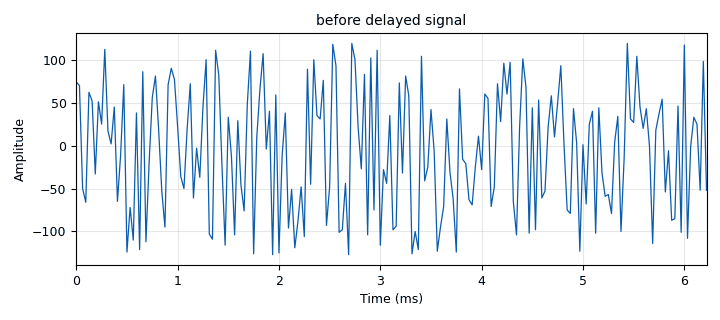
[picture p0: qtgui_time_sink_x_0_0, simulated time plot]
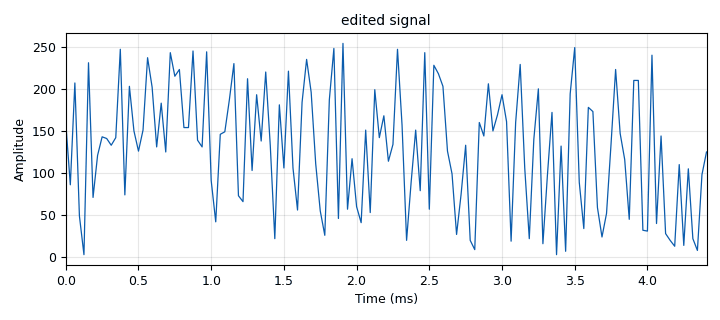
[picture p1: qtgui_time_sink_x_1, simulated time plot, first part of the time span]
options:
  parameters:
    author: Hvozda Martin
    generate_options: qt_gui
    id: FirstFlowGraph
    output_language: python
    title: Starting point of semestral
  states: {}

blocks:
- name: delay
  id: variable_qtgui_range
  parameters:
    label: manual delay
    min_len: '1000'
    rangeType: int
    start: '0'
    step: '1'
    stop: '500'
    value: '0'
  states: {}
- name: samp_rate
  id: variable
  parameters:
    value: '32000'
  states: {}
- name: analog_random_source_x_0
  id: analog_random_source_x
  parameters:
    max: '256'
    min: '0'
    num_samps: '2000'
    repeat: 'True'
    type: byte
  states: {}
- name: blocks_char_to_float_0
  id: blocks_char_to_float
  parameters:
    scale: '1'
  states: {}
- name: blocks_char_to_float_1
  id: blocks_char_to_float
  parameters:
    scale: '1'
  states: {}
- name: blocks_delay_0
  id: blocks_delay
  parameters:
    delay: delay
    type: byte
  states: {}
- name: blocks_delay_1
  id: blocks_delay
  parameters:
    delay: '0'
    type: byte
  states: {}
- name: blocks_throttle_0
  id: blocks_throttle
  parameters:
    samples_per_second: samp_rate
    type: float
  states: {}
- name: epy_block_0
  id: epy_block
  parameters:
    _source_code: "\"\"\"\nEmbedded Python Blocks:\n\nEach time this file is saved, GRC will instantiate the first class it finds\nto get ports and parameters of your block. The arguments to __init__  will\nbe the parameters. All of them are required to have default values!\n\"\"\"\n\nimport numpy as np\nimport pmt\nfrom gnuradio import gr\n\n\nclass blk(gr.sync_block):  # other base classes are basic_block, decim_block, interp_block\n    \"\"\"Embedded Python Block example - a simple multiply const\"\"\"\n\n    def __init__(self):  # only default arguments here\n        \"\"\"arguments to this function show up as parameters in GRC\"\"\"\n        gr.sync_block.__init__(\n            self,\n            name='Custom Difference Block',   # so we may modify it if needed\n            in_sig=[np.float32, np.float32],\n            out_sig=[np.float32] \n        )\n        self.message_port_register_out(pmt.intern(\"delay_msg\"))\n\n    def work(self, input_items, output_items):\n        \"\"\"example: multiply with constant\"\"\"\n       \tmain_stream = input_items[0]\n        delay_stream = input_items[1]\n        \n        #when you multiply the arrays, one \"rotates\"\n        correlation = np.correlate(main_stream, delay_stream, mode='full')\n        u_index = np.argmax(correlation)\n        \n        delay = u_index - (len(delay_stream) - 1)\n        # bug fix ----- random source samples na 2k, nakolko sa rozdeluju na dva prudy moze\n        # blbnut\n        msg = pmt.cons(pmt.PMT_NIL, pmt.from_long(delay))\n        self.message_port_pub(pmt.intern(\"delay_msg\"), msg)\n        \n        print(\"delay value:\", delay)\n\t\n        output_items[0][:] = np.full_like(output_items[0], delay)\n        return len(output_items[0])\n        \n"
  states: {}
- name: epy_block_1
  id: epy_block
  parameters:
    _source_code: "import numpy as np\nimport pmt\nfrom gnuradio import gr\n\nclass blk(gr.sync_block):\n    \"\"\"Embedded Python Block example - a simple multiply const\"\"\"\n\n    def __init__(self):\n        gr.sync_block.__init__(\n            self,\n            name='Receiver',\n            in_sig=[np.float32],\n            out_sig=[np.float32]\n        )\n        \n        self.delay = 0\n        self.enabled = False\n        \n        self.message_port_register_in(pmt.intern(\"delay_msg\"))\n        self.set_msg_handler(pmt.intern(\"delay_msg\"), self.handle_msg)\n        \n        self.message_port_register_in(pmt.intern(\"toggle\"))\n        self.set_msg_handler(pmt.intern(\"toggle\"), self.handle_toggle)\n\n    def handle_toggle(self, msg):\n    \n        if pmt.is_pair(msg):\n        \tmsg = pmt.cdr(msg)\n        \t\n        self.enabled = not self.enabled\n        state = \"ON\" if self.enabled else \"OFF\"\n        print(f\"[Receiver] Correction toggled {state}\")\n        \n\n    def set_enabled(self, value):\n        self.enabled = bool(value)\n        print(f\"Correction state: {'ON' if self.enabled else 'OFF'}\")\n    \t\n    def handle_msg(self, msg):\n        if pmt.is_pair(msg):\n            msg = pmt.cdr(msg)\n        if pmt.is_integer(msg):\n            self.delay = pmt.to_long(msg)\n            print(f\"[Receiver] Delay received: {self.delay}\")\n        \n    def work(self, input_items, output_items):\n        in0 = input_items[0]\n        out = output_items[0]\n        noutput = len(out)\n        \n        if not self.enabled:\n            out[:] = in0[:noutput].astype(np.uint8)\n            return noutput\n\n        delay = max(min(self.delay, len(in0) - 1), -len(in0) + 1)\n\n        if delay >= 0:\n            if len(in0) > delay + noutput:\n                out[:] = in0[delay:delay + noutput].astype(np.uint8)\n            else:\n                out[:] = np.zeros(noutput, dtype=np.uint8)\n        else:\n            advance = abs(delay)\n            if len(in0) > noutput:\n                out[:] = in0[advance:advance + noutput].astype(np.uint8)\n            else:\n                out[:] = np.zeros(noutput, dtype=np.uint8)\n\n        return noutput\n\n"
  states: {}
- name: qtgui_time_sink_x_0
  id: qtgui_time_sink_x
  parameters:
    autoscale: 'True'
    name: '"true before delay"'
    size: '1000'
    srate: samp_rate
    type: float
    ylabel: Delay
  states: {}
- name: qtgui_time_sink_x_0_0
  id: qtgui_time_sink_x
  parameters:
    autoscale: 'True'
    name: '"before delayed signal"'
    size: '200'
    srate: samp_rate
    type: float
  states: {}
- name: qtgui_time_sink_x_1
  id: qtgui_time_sink_x
  parameters:
    autoscale: 'True'
    name: '"edited signal"'
    size: '1024'
    srate: samp_rate
    type: float
  states: {}
- name: toggle
  id: variable_qtgui_msg_push_button
  parameters:
    msgName: pressed
    type: int
    value: '1'
  states: {}

connections:
- [analog_random_source_x_0, '0', blocks_delay_0, '0']
- [analog_random_source_x_0, '0', blocks_delay_1, '0']
- [blocks_char_to_float_0, '0', epy_block_0, '0']
- [blocks_char_to_float_1, '0', epy_block_0, '1']
- [blocks_char_to_float_1, '0', epy_block_1, '0']
- [blocks_char_to_float_1, '0', qtgui_time_sink_x_0_0, '0']
- [blocks_delay_0, '0', blocks_char_to_float_1, '0']
- [blocks_delay_1, '0', blocks_char_to_float_0, '0']
- [blocks_throttle_0, '0', qtgui_time_sink_x_0, '0']
- [epy_block_0, '0', blocks_throttle_0, '0']
- [epy_block_0, delay_msg, epy_block_1, delay_msg]
- [epy_block_1, '0', qtgui_time_sink_x_1, '0']
- [toggle, pressed, epy_block_1, toggle]

metadata:
  file_format: 1
